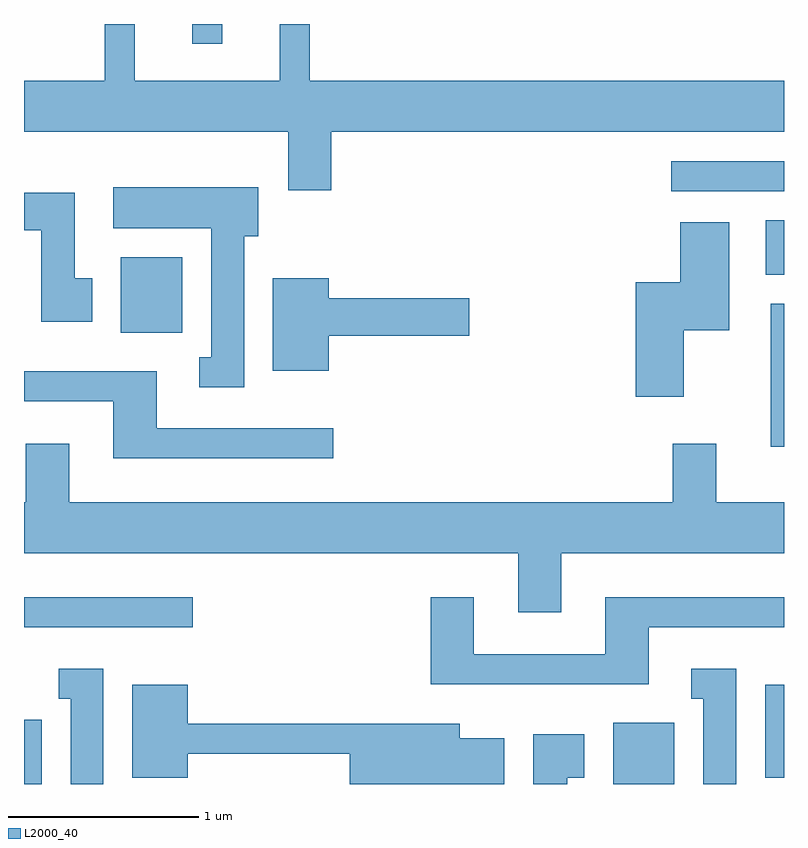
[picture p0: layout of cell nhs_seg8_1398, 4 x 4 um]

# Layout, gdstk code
import gdstk
lib = gdstk.Library(unit=1e-6, precision=1e-09)
def R(c, l, rs):  # rectangles x0, y0, x1, y1
    for r in rs: c.add(gdstk.rectangle(r[:2], r[2:], *l))
def P(c, l, *ps):  # polygons
    for p in ps: c.add(gdstk.Polygon(p, *l))
L2000_40 = (2000, 40)

nhs_seg8_1398 = lib.new_cell('nhs_seg8_1398')
R(nhs_seg8_1398, L2000_40, [(227.611,1806.342,227.704,1806.679), (230.711,1806.342,231.034,1806.664), (231.511,1806.376,231.611,1806.864), (227.611,1807.166,228.498,1807.324), (231.541,1808.116,231.611,1808.869), (228.121,1808.716,228.444,1809.114), (231.516,1809.021,231.611,1809.309), (231.018,1809.461,231.611,1809.619), (228.496,1810.238,228.654,1810.342)])
P(nhs_seg8_1398, L2000_40, [(229.229,1809.776),(231.611,1809.776),(231.611,1810.044),(229.114,1810.044),(229.114,1810.342),(228.956,1810.342),(228.956,1810.044),(228.194,1810.044),(228.194,1810.342),(228.036,1810.342),(228.036,1810.044),(227.611,1810.044),(227.611,1809.776),(229.001,1809.776),(229.001,1809.466),(229.229,1809.466)],
  [(228.769,1809.226),(228.844,1809.226),(228.844,1809.484),(228.081,1809.484),(228.081,1809.266),(228.596,1809.266),(228.596,1808.589),(228.533,1808.589),(228.533,1808.431),(228.769,1808.431)],
  [(227.969,1809.004),(227.879,1809.004),(227.879,1809.454),(227.611,1809.454),(227.611,1809.256),(227.701,1809.256),(227.701,1808.776),(227.969,1808.776)],
  [(231.084,1808.731),(231.324,1808.731),(231.324,1809.299),(231.066,1809.299),(231.066,1808.984),(230.831,1808.984),(230.831,1808.381),(231.084,1808.381)],
  [(229.214,1808.701),(229.954,1808.701),(229.954,1808.899),(229.214,1808.899),(229.214,1809.004),(228.921,1809.004),(228.921,1808.516),(229.214,1808.516)],
  [(229.238,1808.214),(228.309,1808.214),(228.309,1808.514),(227.611,1808.514),(227.611,1808.356),(228.081,1808.356),(228.081,1808.056),(229.238,1808.056)],
  [(230.439,1807.556),(231.611,1807.556),(231.611,1807.824),(231.254,1807.824),(231.254,1808.134),(231.026,1808.134),(231.026,1807.824),(227.849,1807.824),(227.849,1808.134),(227.621,1808.134),(227.621,1807.824),(227.611,1807.824),(227.611,1807.556),(230.211,1807.556),(230.211,1807.246),(230.439,1807.246)],
  [(230.899,1807.166),(231.611,1807.166),(231.611,1807.324),(230.671,1807.324),(230.671,1807.024),(229.979,1807.024),(229.979,1807.324),(229.751,1807.324),(229.751,1806.866),(230.899,1806.866)],
  [(228.029,1806.949),(227.793,1806.949),(227.793,1806.791),(227.856,1806.791),(227.856,1806.342),(228.029,1806.342)],
  [(231.359,1806.949),(231.123,1806.949),(231.123,1806.791),(231.186,1806.791),(231.186,1806.342),(231.359,1806.342)],
  [(230.139,1806.584),(229.904,1806.584),(229.904,1806.659),(228.474,1806.659),(228.474,1806.864),(228.181,1806.864),(228.181,1806.376),(228.474,1806.376),(228.474,1806.501),(229.326,1806.501),(229.326,1806.342),(230.139,1806.342)],
  [(230.469,1806.376),(230.559,1806.376),(230.559,1806.604),(230.291,1806.604),(230.291,1806.342),(230.469,1806.342)])

lib.write_gds('nhs_seg8_1398.gds')
